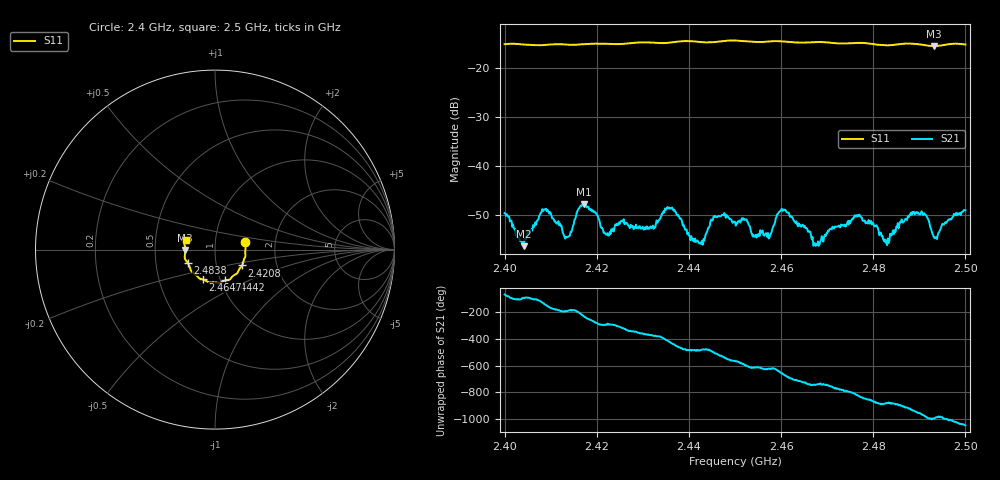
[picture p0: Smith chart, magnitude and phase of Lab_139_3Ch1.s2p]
# Hz S RI R 50
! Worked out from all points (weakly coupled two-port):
!   601 points, 2.4 GHz to 2.5 GHz, reference 50 ohm
!   highest |S21| = -47.77 dB at 2.4172 GHz (marker M1); lowest = -56.3 dB at 2.4042 GHz (marker M2)
!   lowest |S11| = -15.6 dB at 2.4932 GHz (marker M3), VSWR 1.40, Z = 35.8 - j0.0999 ohm
!   |S11| at or under -10 dB: start of sweep to end of sweep
!   S12 and S22 are empty: the file has one direction only
!   S11 on the Smith chart (normalised r, x): 2.4 GHz: 1.40, +0.12; 2.4208 GHz: 1.33, -0.24; 2.4442 GHz: 1.05, -0.37; 2.4647 GHz: 0.83, -0.29; 2.4838 GHz: 0.73, -0.11; 2.5 GHz: 0.72, +0.08
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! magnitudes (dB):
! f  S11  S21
! 2.4 GHz  -15.2  -49.6
! 2.4042 GHz  -15.3  -56.3
! 2.4087 GHz  -15.4  -48.8
! 2.4137 GHz  -15.3  -54.5
! 2.4167 GHz  -15.3  -48.2
! 2.4172 GHz  -15.2  -47.8
! 2.4208 GHz  -15.1  -52.3
! 2.4333 GHz  -15.0  -51.1
! 2.4365 GHz  -14.8  -48.7
! 2.4425 GHz  -14.8  -55.6
! 2.4442 GHz  -14.9  -52.6
! 2.45 GHz  -14.5  -51.4
! 2.4573 GHz  -14.7  -54.7
! 2.4605 GHz  -14.7  -48.9
! 2.4647 GHz  -14.9  -51.9
! 2.4667 GHz  -14.8  -54.9
! 2.4765 GHz  -15.0  -50.3
! 2.4833 GHz  -15.5  -55.7
! 2.4838 GHz  -15.4  -54.0
! 2.489 GHz  -15.2  -49.9
! 2.4932 GHz  -15.6  -54.5
! 2.5 GHz  -15.3  -49.0
